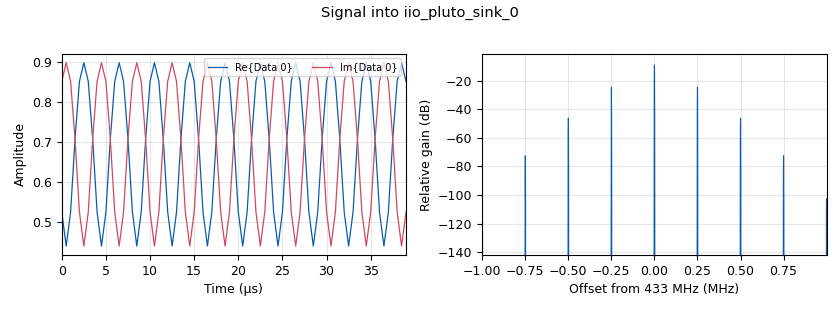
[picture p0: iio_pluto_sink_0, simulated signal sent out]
options:
  parameters:
    author: ethant
    generate_options: qt_gui
    id: TX_test
    output_language: python
    title: Not titled yet
  states: {}

blocks:
- name: samp_rate
  id: variable
  parameters:
    value: '2000000'
  states: {}
- name: source_select
  id: variable_qtgui_chooser
  parameters:
    label: Select Source
    label0: 0xAA Pattern
    label1: Random
    num_opts: '2'
    option0: '0'
    option1: '1'
    type: int
    value: '0'
  states: {}
- name: analog_random_source_x_0
  id: analog_random_source_x
  parameters:
    max: '256'
    min: '0'
    num_samps: '1000'
    repeat: 'True'
    type: byte
  states: {}
- name: blocks_selector_0
  id: blocks_selector
  parameters:
    enabled: 'True'
    input_index: source_select
    num_inputs: '2'
    num_outputs: '1'
    output_index: '0'
    type: byte
  states: {}
- name: blocks_stream_to_tagged_stream_0
  id: blocks_stream_to_tagged_stream
  parameters:
    len_tag_key: '"packet_len"'
    packet_len: '1024'
    type: byte
  states: {}
- name: blocks_vector_source_x_0
  id: blocks_vector_source_x
  parameters:
    repeat: 'True'
    type: byte
    vector: '[0xAA]*128'
  states: {}
- name: digital_gmsk_mod_0
  id: digital_gmsk_mod
  parameters:
    bt: '0.35'
    samples_per_symbol: '4'
  states: {}
- name: iio_pluto_sink_0
  id: iio_pluto_sink
  parameters:
    attenuation1: '20.0'
    bandwidth: '20000000'
    buffer_size: '32768'
    cyclic: 'False'
    filter_source: '''Auto'''
    frequency: '433000000'
    samplerate: samp_rate
    type: fc32
    uri: usb:3.9.5
  states: {}

connections:
- [analog_random_source_x_0, '0', blocks_selector_0, '1']
- [blocks_selector_0, '0', blocks_stream_to_tagged_stream_0, '0']
- [blocks_stream_to_tagged_stream_0, '0', digital_gmsk_mod_0, '0']
- [blocks_vector_source_x_0, '0', blocks_selector_0, '0']
- [digital_gmsk_mod_0, '0', iio_pluto_sink_0, '0']

metadata:
  file_format: 1
  grc_version: 3.10.12.0
